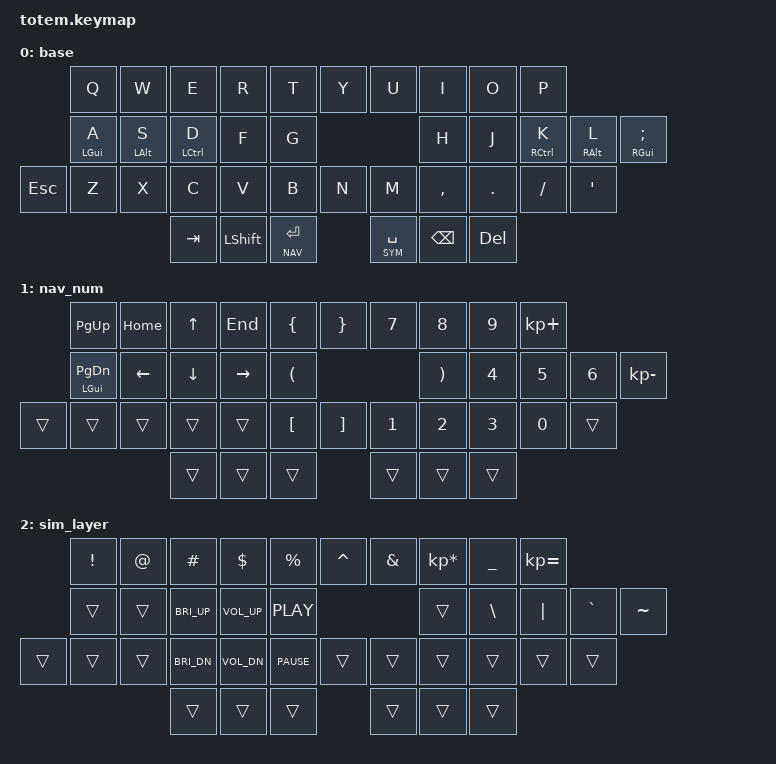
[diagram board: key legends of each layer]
#include <behaviors.dtsi>
#include <dt-bindings/zmk/keys.h>
#include <dt-bindings/zmk/bt.h>
// removed outputs, needed to toggle between bluetooth and usb

#define BASE 0
#define NAV  1
#define SYM  2
// removed 1 layers...

// I don't completely know what this does
&mt {
  quick-tap-ms = <175>;
  flavor = "balanced";
  require-prior-idle-ms = <150>;
  tapping-term-ms = <280>;
};

/ {
    keymap {
        compatible = "zmk,keymap";


//             ┏━━━━━━━━━━━┳━━━━━━━━━━━┳━━━━━━━━━━━┳━━━━━━━━━━━┳━━━━━━━━━━━┓   ┏━━━━━━━━━━━┳━━━━━━━━━━━┳━━━━━━━━━━━┳━━━━━━━━━━━┳━━━━━━━━━━━┓
//             ┃     Q     ┃     W     ┃     E     ┃     R     ┃     T     ┃   ┃     Y     ┃     U     ┃     I     ┃     O     ┃     P     ┃
//             ┣━━━━━━━━━━━╋━━━━━━━━━━━╋━━━━━━━━━━━╋━━━━━━━━━━━╋━━━━━━━━━━━┫   ┣━━━━━━━━━━━╋━━━━━━━━━━━╋━━━━━━━━━━━╋━━━━━━━━━━━╋━━━━━━━━━━━┫
//             ┃   A(GUI)  ┃   S(ALT)  ┃  D(CTRL)  ┃  F        ┃     G     ┃   ┃     H     ┃  J        ┃ K(CTRL)   ┃  L(ALT)   ┃   ;(GUI)  ┃
// ┏━━━━━━━━━━━╋━━━━━━━━━━━╋━━━━━━━━━━━╋━━━━━━━━━━━╋━━━━━━━━━━━╋━━━━━━━━━━━┫   ┣━━━━━━━━━━━╋━━━━━━━━━━━╋━━━━━━━━━━━╋━━━━━━━━━━━╋━━━━━━━━━━━╋━━━━━━━━━━━┓
// ┃    ESC    ┃     Z     ┃     X     ┃     C     ┃     V     ┃     B     ┃   ┃     N     ┃     M     ┃     ,     ┃     .     ┃     /     ┃     '     ┃
// ┗━━━━━━━━━━━┻━━━━━━━━━━━┻━━━━━━━━━━━╋━━━━━━━━━━━╋━━━━━━━━━━━╋━━━━━━━━━━━┫   ┣━━━━━━━━━━━╋━━━━━━━━━━━╋━━━━━━━━━━━╋━━━━━━━━━━━┻━━━━━━━━━━━┻━━━━━━━━━━━┛
//                                     ┃   TAB     ┃  LSHIFT   ┃ ENTER(1)  ┃   ┃  SPC(2)   ┃   BSPC    ┃   DELETE  ┃
//                                     ┗━━━━━━━━━━━┻━━━━━━━━━━━┻━━━━━━━━━━━┛   ┗━━━━━━━━━━━┻━━━━━━━━━━━┻━━━━━━━━━━━┛
        base {
            bindings = <
         &kp Q  &kp W  &kp E   &kp R  &kp T    &kp Y                  &kp U    &kp I          &kp O    &kp P
         &mt LGUI A  &mt LALT S  &mt LCTRL D   &kp F  &kp G           &kp H    &kp J    &mt RCTRL K &mt RALT L &mt RGUI SEMI
&kp ESC  &kp Z  &kp X  &kp C   &kp V  &kp B    &kp N                  &kp M    &kp COMMA      &kp DOT  &kp FSLH  &kp APOS
                       &kp TAB  &kp LSHIFT    &lt NAV ENTER           &lt SYM SPACE  &kp BSPC  &kp DELETE
            >;
        };
//             ┏━━━━━━━━━━━┳━━━━━━━━━━━┳━━━━━━━━━━━┳━━━━━━━━━━━┳━━━━━━━━━━━┓   ┏━━━━━━━━━━━┳━━━━━━━━━━━┳━━━━━━━━━━━┳━━━━━━━━━━━┳━━━━━━━━━━━┓
//             ┃   P UP    ┃   HOME    ┃     UP    ┃    END    ┃     {     ┃   ┃     }     ┃     7     ┃     8     ┃     9     ┃     +     ┃
//             ┣━━━━━━━━━━━╋━━━━━━━━━━━╋━━━━━━━━━━━╋━━━━━━━━━━━╋━━━━━━━━━━━┫   ┣━━━━━━━━━━━╋━━━━━━━━━━━╋━━━━━━━━━━━╋━━━━━━━━━━━╋━━━━━━━━━━━┫
//             ┃   P DOWN  ┃   LEFT    ┃    DOWN   ┃   RIGHT   ┃     (     ┃   ┃     )     ┃     4     ┃     5     ┃     6     ┃     -     ┃
// ┏━━━━━━━━━━━╋━━━━━━━━━━━╋━━━━━━━━━━━╋━━━━━━━━━━━╋━━━━━━━━━━━╋━━━━━━━━━━━┫   ┣━━━━━━━━━━━╋━━━━━━━━━━━╋━━━━━━━━━━━╋━━━━━━━━━━━╋━━━━━━━━━━━╋━━━━━━━━━━━┓
// ┃           ┃           ┃           ┃           ┃           ┃     [     ┃   ┃     ]     ┃     1     ┃     2     ┃     3     ┃     0     ┃           ┃
// ┗━━━━━━━━━━━┻━━━━━━━━━━━┻━━━━━━━━━━━╋━━━━━━━━━━━╋━━━━━━━━━━━╋━━━━━━━━━━━┫   ┣━━━━━━━━━━━╋━━━━━━━━━━━╋━━━━━━━━━━━╋━━━━━━━━━━━┻━━━━━━━━━━━┻━━━━━━━━━━━┛
//                                     ┃           ┃           ┃           ┃   ┃           ┃           ┃           ┃
//                                     ┗━━━━━━━━━━━┻━━━━━━━━━━━┻━━━━━━━━━━━┛   ┗━━━━━━━━━━━┻━━━━━━━━━━━┻━━━━━━━━━━━┛
        nav_num {
            bindings = <
       &kp PG_UP  &kp HOME    &kp UP     &kp END     &kp LBRC  &kp RBRC  &kp N7    &kp N8    &kp N9  &kp KP_PLUS
       &mt LGUI PG_DN  &kp LEFT    &kp DOWN  &kp RIGHT   &kp LPAR  &kp RPAR  &kp N4    &kp N5    &kp N6  &kp KP_MINUS
&trans &trans     &trans      &trans     &trans      &kp LBKT  &kp RBKT  &kp N1    &kp N2    &kp N3  &kp N0  &trans
                                         &trans      &trans    &trans    &trans   &trans  &trans
            >;
        };

//             ┏━━━━━━━━━━━┳━━━━━━━━━━━┳━━━━━━━━━━━┳━━━━━━━━━━━┳━━━━━━━━━━━┓   ┏━━━━━━━━━━━┳━━━━━━━━━━━┳━━━━━━━━━━━┳━━━━━━━━━━━┳━━━━━━━━━━━┓
//             ┃     !     ┃     @     ┃     #     ┃     $     ┃     %     ┃   ┃     ˆ     ┃     &     ┃     *     ┃     _     ┃     =     ┃
//             ┣━━━━━━━━━━━╋━━━━━━━━━━━╋━━━━━━━━━━━╋━━━━━━━━━━━╋━━━━━━━━━━━┫   ┣━━━━━━━━━━━╋━━━━━━━━━━━╋━━━━━━━━━━━╋━━━━━━━━━━━╋━━━━━━━━━━━┫
//             ┃           ┃           ┃    BRI+   ┃    VOL+   ┃  PLAY     ┃   ┃           ┃     \     ┃     |     ┃      `    ┃     ~     ┃
// ┏━━━━━━━━━━━╋━━━━━━━━━━━╋━━━━━━━━━━━╋━━━━━━━━━━━╋━━━━━━━━━━━╋━━━━━━━━━━━┫   ┣━━━━━━━━━━━╋━━━━━━━━━━━╋━━━━━━━━━━━╋━━━━━━━━━━━╋━━━━━━━━━━━╋━━━━━━━━━━━┓
// ┃           ┃           ┃           ┃    BRI-   ┃    VOL-   ┃  PAUSE    ┃   ┃           ┃           ┃           ┃           ┃           ┃           ┃
// ┗━━━━━━━━━━━┻━━━━━━━━━━━┻━━━━━━━━━━━╋━━━━━━━━━━━╋━━━━━━━━━━━╋━━━━━━━━━━━┫   ┣━━━━━━━━━━━╋━━━━━━━━━━━╋━━━━━━━━━━━╋━━━━━━━━━━━┻━━━━━━━━━━━┻━━━━━━━━━━━┛
//                                     ┃           ┃           ┃           ┃   ┃           ┃           ┃           ┃
//                                     ┗━━━━━━━━━━━┻━━━━━━━━━━━┻━━━━━━━━━━━┛   ┗━━━━━━━━━━━┻━━━━━━━━━━━┻━━━━━━━━━━━┛
        sim_layer {
            bindings = <
                &kp EXCL &kp AT &kp HASH      &kp DLLR    &kp PRCNT     &kp CARET   &kp AMPS    &kp KP_MULTIPLY   &kp UNDERSCORE &kp KP_EQUAL
                &trans   &trans &kp C_BRI_UP  &kp C_VOL_UP      &kp C_PLAY    &trans  &kp BACKSLASH   &kp PIPE &kp GRAVE &kp TILDE
    &trans      &trans   &trans &kp C_BRI_DN  &kp C_VOL_DN      &kp C_PAUSE   &trans  &trans          &trans   &trans   &trans   &trans
                                        &trans      &trans    &trans          &trans      &trans    &trans
            >;
        };
    };
};
